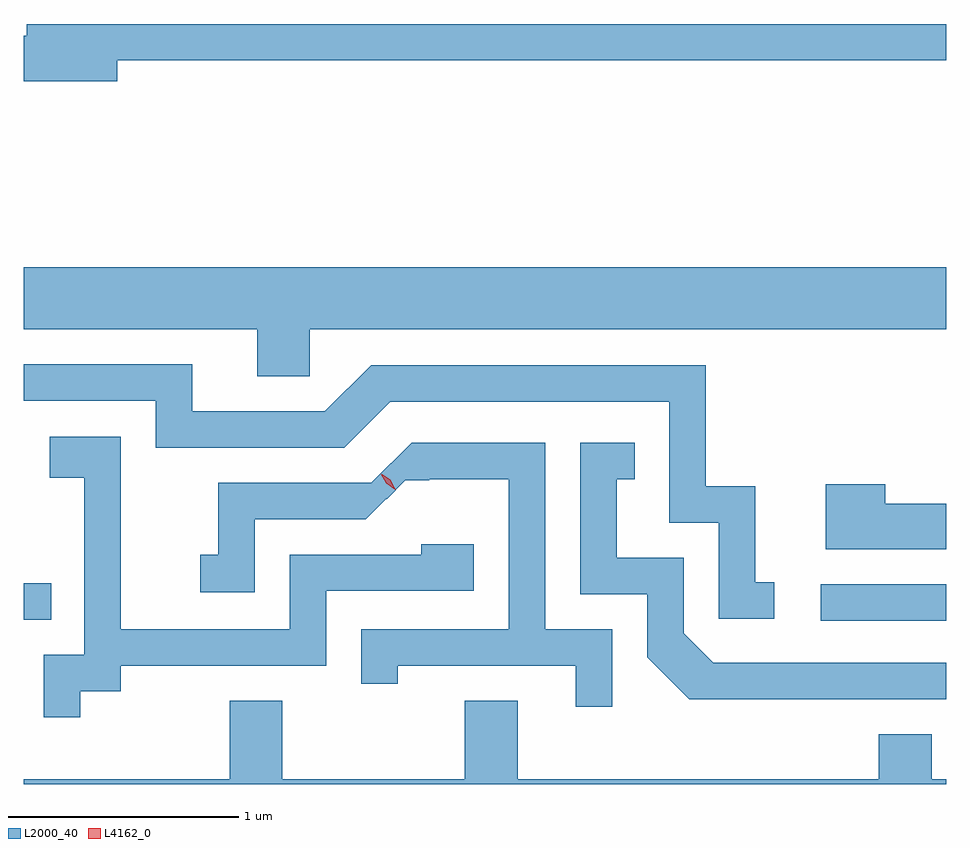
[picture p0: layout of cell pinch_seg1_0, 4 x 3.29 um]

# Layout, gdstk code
import gdstk
lib = gdstk.Library(unit=1e-6, precision=1e-09)
def R(c, l, rs):  # rectangles x0, y0, x1, y1
    for r in rs: c.add(gdstk.rectangle(r[:2], r[2:], *l))
def P(c, l, *ps):  # polygons
    for p in ps: c.add(gdstk.Polygon(p, *l))
L2000_40 = (2000, 40)
L4162_0 = (4162, 0)

pinch_seg1_0 = lib.new_cell('pinch_seg1_0')
R(pinch_seg1_0, L2000_40, [(1498.033,858.351,1498.578,858.509), (1494.578,858.356,1494.698,858.514)])
P(pinch_seg1_0, L2000_40, [(1494.984,860.781),(1498.578,860.781),(1498.578,860.939),(1494.591,860.939),(1494.591,860.889),(1494.578,860.889),(1494.578,860.691),(1494.984,860.691)],
  [(1495.819,859.616),(1498.578,859.616),(1498.578,859.884),(1494.578,859.884),(1494.578,859.616),(1495.591,859.616),(1495.591,859.411),(1495.819,859.411)],
  [(1497.833,858.519),(1497.749,858.519),(1497.749,858.934),(1497.534,858.934),(1497.534,859.459),(1496.084,859.459),(1495.884,859.259),(1495.309,859.259),(1495.309,859.464),(1494.578,859.464),(1494.578,859.306),(1495.151,859.306),(1495.151,859.101),(1495.967,859.101),(1496.167,859.301),(1497.376,859.301),(1497.376,858.776),(1497.591,858.776),(1497.591,858.361),(1497.833,858.361)],
  [(1494.824,858.046),(1494.999,858.046),(1494.999,858.156),(1495.889,858.156),(1495.889,858.481),(1496.529,858.481),(1496.529,858.684),(1496.301,858.684),(1496.301,858.639),(1495.731,858.639),(1495.731,858.314),(1494.999,858.314),(1494.999,859.149),(1494.691,859.149),(1494.691,858.971),(1494.841,858.971),(1494.841,858.204),(1494.666,858.204),(1494.666,857.933),(1494.824,857.933)],
  [(1498.578,858.169),(1497.567,858.169),(1497.439,858.297),(1497.439,858.624),(1497.149,858.624),(1497.149,858.966),(1497.228,858.966),(1497.228,859.124),(1496.991,859.124),(1496.991,858.466),(1497.281,858.466),(1497.281,858.194),(1497.464,858.011),(1498.578,858.011)],
  [(1497.129,858.314),(1496.839,858.314),(1496.839,859.124),(1496.26,859.124),(1496.085,858.949),(1495.421,858.949),(1495.421,858.639),(1495.343,858.639),(1495.343,858.476),(1495.579,858.476),(1495.579,858.791),(1496.061,858.791),(1496.15,858.88),(1496.151,858.879),(1496.233,858.962),(1496.336,858.962),(1496.336,858.966),(1496.681,858.966),(1496.681,858.314),(1496.041,858.314),(1496.041,858.078),(1496.199,858.078),(1496.199,858.156),(1496.971,858.156),(1496.971,857.978),(1497.129,857.978)],
  [(1498.578,858.859),(1498.314,858.859),(1498.314,858.944),(1498.056,858.944),(1498.056,858.661),(1498.578,858.661)],
  [(1498.578,857.664),(1498.514,857.664),(1498.514,857.859),(1498.286,857.859),(1498.286,857.664),(1496.719,857.664),(1496.719,858.004),(1496.491,858.004),(1496.491,857.664),(1495.699,857.664),(1495.699,858.004),(1495.471,858.004),(1495.471,857.664),(1494.578,857.664),(1494.578,857.644),(1498.578,857.644)])
P(pinch_seg1_0, L4162_0, [(1496.189,858.92),(1496.15,858.948),(1496.126,858.989),(1496.126,858.99),(1496.127,858.99),(1496.166,858.961),(1496.19,858.92),(1496.19,858.92)],
  [(1496.187,858.925),(1496.152,858.95),(1496.132,858.988),(1496.132,858.988),(1496.132,858.988),(1496.167,858.964),(1496.187,858.926),(1496.187,858.925)])

lib.write_gds('pinch_seg1_0.gds')
